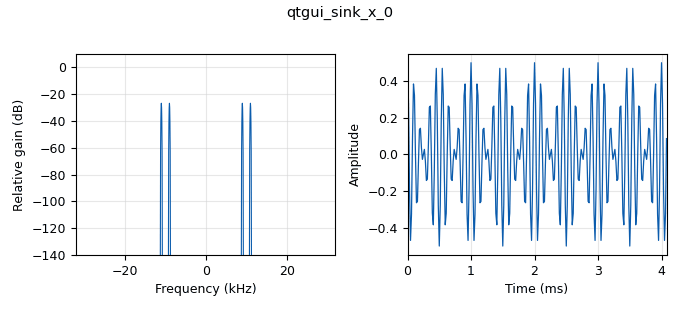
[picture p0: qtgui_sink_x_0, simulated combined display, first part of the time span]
options:
  parameters:
    generate_options: qt_gui
    id: am
    output_language: python
    title: Not titled yet
  states: {}

blocks:
- name: carrier_freq
  id: variable_qtgui_range
  parameters:
    label: carrier_freq
    start: '5000'
    step: '0.1'
    stop: '15000'
    value: '10000'
  states: {}
- name: mod_freq
  id: variable_qtgui_range
  parameters:
    label: mod_freq
    start: '300'
    step: '100'
    stop: '2700'
    value: '1000'
  states: {}
- name: mod_index
  id: variable_qtgui_range
  parameters:
    label: mod_index
    start: '0'
    step: '0.1'
    stop: '1'
    value: '0.5'
  states: {}
- name: samp_rate
  id: variable
  parameters:
    value: '64000'
  states: {}
- name: analog_const_source_x_0
  id: analog_const_source_x
  parameters:
    comment: m
    const: mod_index
    type: float
  states: {}
- name: analog_const_source_x_0_0
  id: analog_const_source_x
  parameters:
    const: '0'
    type: float
  states: {}
- name: analog_sig_source_x_0
  id: analog_sig_source_x
  parameters:
    amp: '1'
    comment: cos(wm*t)
    freq: mod_freq
    offset: '0'
    phase: '0'
    samp_rate: samp_rate
    type: float
    waveform: analog.GR_COS_WAVE
  states: {}
- name: analog_sig_source_x_0_0
  id: analog_sig_source_x
  parameters:
    amp: '1'
    comment: cos(wc*t)
    freq: carrier_freq
    offset: '0'
    phase: '0'
    samp_rate: samp_rate
    type: float
    waveform: analog.GR_COS_WAVE
  states: {}
- name: blocks_add_xx_0
  id: blocks_add_xx
  parameters:
    comment: 1+m*cos(wm*t)
    type: float
  states: {}
- name: blocks_multiply_xx_0
  id: blocks_multiply_xx
  parameters:
    comment: m*cos(wm*t)
    type: float
  states: {}
- name: blocks_multiply_xx_0_0
  id: blocks_multiply_xx
  parameters:
    comment: '[1+m*cos(wm*t)]*cos(wc*t)'
    type: float
  states: {}
- name: note_0
  id: note
  parameters:
    note: set ac=1 ->  am=m*ac=m
  states: {}
- name: qtgui_sink_x_0
  id: qtgui_sink_x
  parameters:
    bw: samp_rate
    fc: '0'
    fftsize: '1024'
    type: float
  states: {}

connections:
- [analog_const_source_x_0, '0', blocks_multiply_xx_0, '1']
- [analog_const_source_x_0_0, '0', blocks_add_xx_0, '1']
- [analog_sig_source_x_0, '0', blocks_multiply_xx_0, '0']
- [analog_sig_source_x_0_0, '0', blocks_multiply_xx_0_0, '1']
- [blocks_add_xx_0, '0', blocks_multiply_xx_0_0, '0']
- [blocks_multiply_xx_0, '0', blocks_add_xx_0, '0']
- [blocks_multiply_xx_0_0, '0', qtgui_sink_x_0, '0']

metadata:
  file_format: 1
  grc_version: 3.10.11.0
